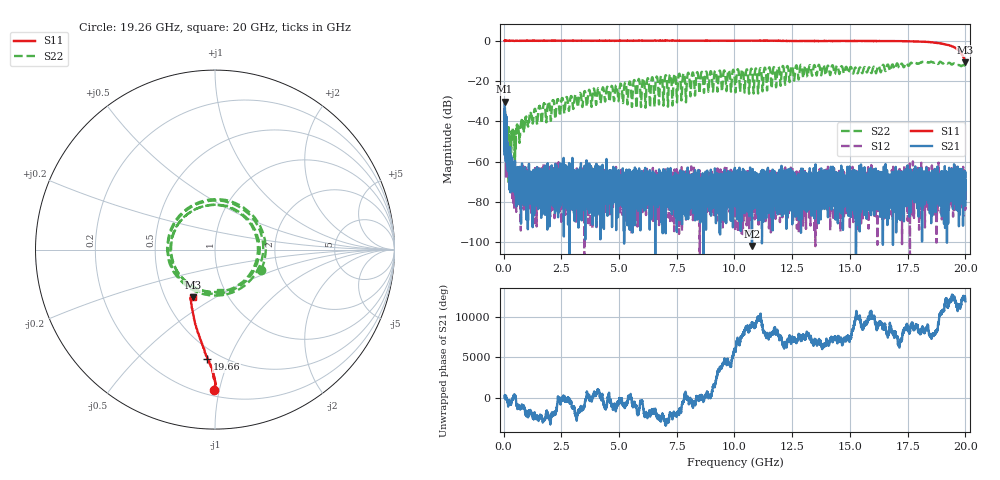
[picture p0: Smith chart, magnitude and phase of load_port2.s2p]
!Agilent Technologies,E8364A,US41440322,A.04.87.01
!Agilent E8364A: A.04.87.01
!Date: Tuesday, July 16, 2024 12:12:28
!Correction: S11(Full 2 Port SOLT,1,2) S21(Full 2 Port SOLT,1,2) S12(Full 2 Port SOLT,1,2) S22(Full 2 Port SOLT,1,2)
!S2P File: Measurements: S11, S21, S12, S22:
# Hz S  dB  R 50
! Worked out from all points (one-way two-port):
!   6401 points, 45 MHz to 20 GHz, reference 50 ohm
!   highest |S21| = -30.28 dB at 45 MHz (marker M1); lowest = -101.9 dB at 10.76 GHz (marker M2)
!   lowest |S11| = -10.6 dB at 20 GHz (marker M3), VSWR 1.83, Z = 34.2 - j20 ohm
!   |S11| at or under -10 dB: 19.98105 GHz to end of sweep
!   |S22| runs from -70.4 to -10.4 dB; largest |S21 - S12| = 0.032
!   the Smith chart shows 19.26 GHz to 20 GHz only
!   S11 on the Smith chart (normalised r, x): 19.26 GHz: 0.24, -0.97; 19.66 GHz: 0.43, -0.84; 20 GHz: 0.68, -0.40
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4.5e7  0.08 4.3  -30.28 17.9  -33.37 92.5  -38.03 -140.1
1.47893e8  0.03 5.0  -49.43 81.1  -55.72 174.3  -49.21 41.7
2.383141e8  -0.03 7.8  -65.98 43.6  -60.00 -37.8  -46.94 133.4
4.721617e8  -0.08 16.2  -66.83 39.7  -68.47 100.4  -52.32 -150.5
6.561219e8  -0.04 22.6  -72.89 125.0  -72.82 -35.6  -46.24 -153.5
2.049854e9  0.07 71.9  -74.82 -131.9  -65.55 28.8  -39.62 -43.1
3.371873e9  0.05 118.3  -72.97 -30.6  -69.23 82.9  -28.83 -122.4
5.00257e9  0.03 174.7  -72.54 -44.6  -73.71 51.1  -27.01 83.5
6.698745e9  0.05 -129.0  -67.72 -112.3  -69.03 -173.8  -23.34 -59.8
8.301381e9  0.03 -76.6  -74.58 -106.3  -68.38 -76.0  -25.37 114.6
8.569527e9  0.06 -67.7  -78.85 163.3  -71.45 109.3  -15.60 -125.9
1.00225e10  0.03 -20.0  -74.93 52.9  -63.72 169.5  -21.57 17.0
1.075834e10  0.09 4.5  -101.91 -78.0  -71.75 -81.9  -14.71 -36.9
1.223314e10  -0.09 55.1  -78.89 158.7  -75.28 -37.4  -16.18 -114.8
1.334937e10  -0.11 96.0  -66.25 53.5  -71.00 169.9  -16.96 120.4
1.509544e10  -0.13 157.9  -70.08 38.1  -77.34 171.8  -14.82 128.3
1.587805e10  -0.12 -176.5  -66.27 39.5  -66.18 -2.3  -14.22 153.5
1.667625e10  -0.13 -151.0  -74.26 -147.2  -79.93 15.3  -12.48 -155.1
1.804815e10  -0.37 -112.0  -64.36 -44.1  -70.61 -105.0  -10.90 -109.0
1.926104e10  -2.14 -90.2  -67.65 54.2  -80.35 130.2  -11.07 -23.7
1.966326e10  -4.29 -94.0  -69.95 -135.1  -64.11 170.0  -12.07 6.1
2e10  -10.63 -114.9  -69.38 1.2  -73.71 -142.7  -12.56 -82.8
